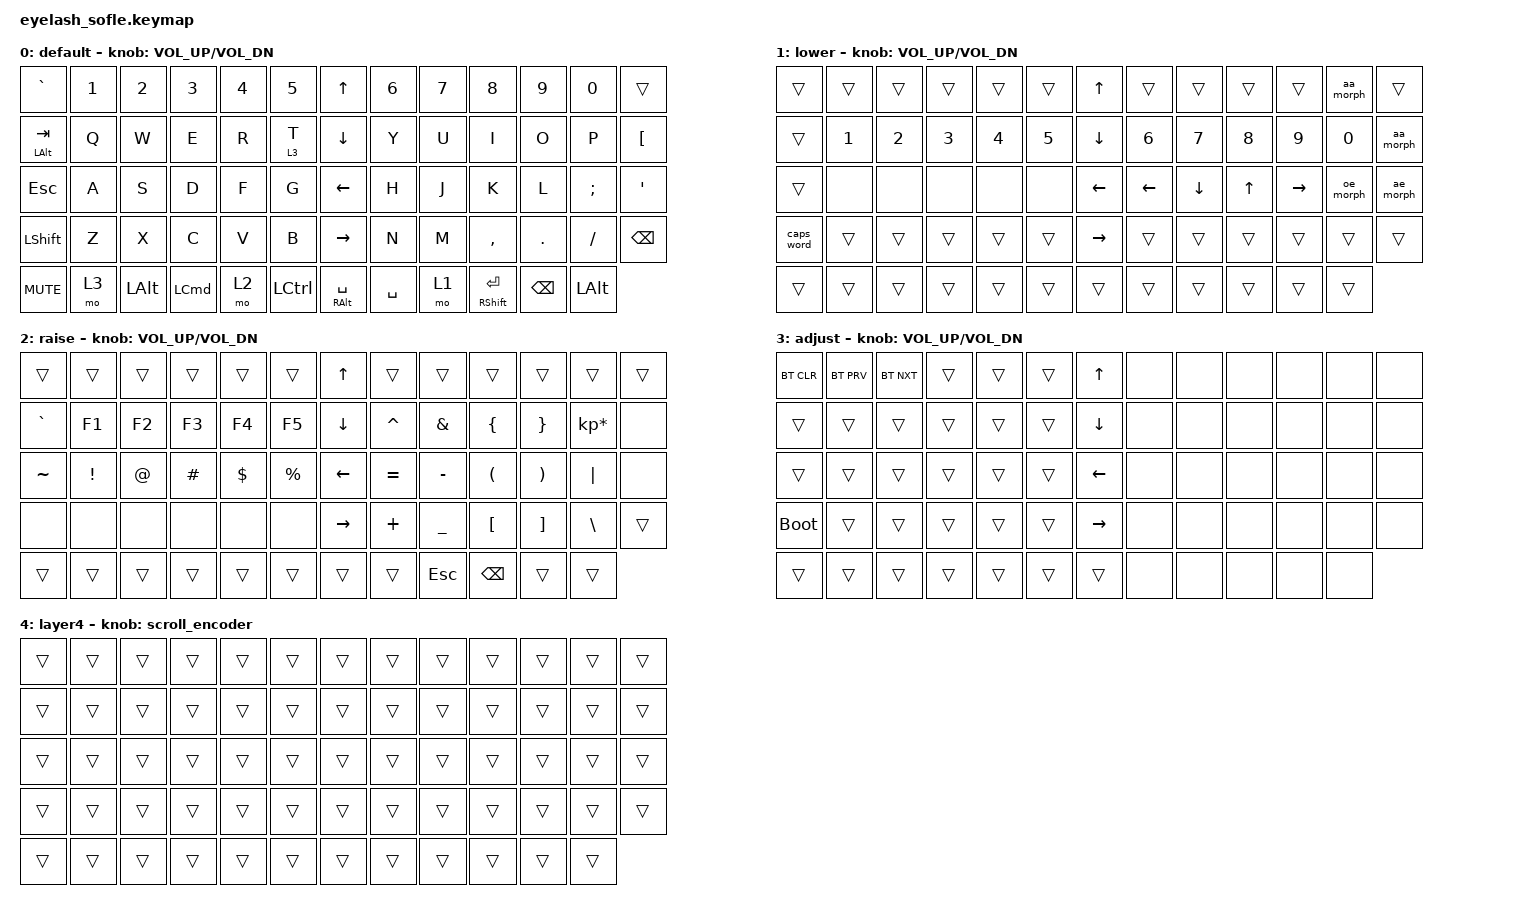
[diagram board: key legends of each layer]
#define ZMK_POINTING_DEFAULT_MOVE_VAL 1200  // 600
#define ZMK_POINTING_DEFAULT_SCRL_VAL 25   // 10

#include <input/processors.dtsi>
#include <zephyr/dt-bindings/input/input-event-codes.h>
#include <behaviors.dtsi>
#include <dt-bindings/zmk/bt.h>
#include <dt-bindings/zmk/keys.h>
#include <dt-bindings/zmk/pointing.h>

&mmv_input_listener { input-processors = <&zip_xy_scaler 2 1>; };

&msc_input_listener { input-processors = <&zip_scroll_scaler 2 1>; };

&msc {
    acceleration-exponent = <1>;      // 0
    time-to-max-speed-ms = <100>;       // 300
    delay-ms = <0>;                   // 0
};

&mmv {
    time-to-max-speed-ms = <500>;
    acceleration-exponent = <1>;
    trigger-period-ms = <16>;
};

&soft_off { hold-time-ms = <2000>; };

/ {
    scroll_encoder: scroll_encoder {
        compatible = "zmk,behavior-sensor-rotate";
        #sensor-binding-cells = <0>;
        bindings = <&msc SCRL_DOWN>, <&msc SCRL_UP>;

        tap-ms = <100>;
    };

    behaviors {
        // Direct character macro for å (lowercase) - macOS U.S. International - PC keyboard

        aa_lower: aa_lower {
            compatible = "zmk,behavior-macro";
            #binding-cells = <0>;
            wait-ms = <10>;
            tap-ms = <10>;
            bindings =
                <&macro_press>,
                <&kp LALT>,
                <&macro_tap>,
                <&kp A>,
                <&macro_release>,
                <&kp LALT>;
        };

        // Direct character macro for Å (uppercase) - macOS U.S. International - PC keyboard

        aa_upper: aa_upper {
            compatible = "zmk,behavior-macro";
            #binding-cells = <0>;
            wait-ms = <10>;
            tap-ms = <10>;
            bindings =
                <&macro_press>,
                <&kp LALT &kp LSHFT>,
                <&macro_tap>,
                <&kp A>,
                <&macro_release>,
                <&kp LSHFT &kp LALT>;
        };

        // Dead key macro for ä (lowercase) - macOS US Extended keyboard

        ae_lower: ae_lower {
            compatible = "zmk,behavior-macro";
            #binding-cells = <0>;
            wait-ms = <10>;
            tap-ms = <10>;
            bindings =
                <&macro_press>,
                <&kp LALT>,
                <&macro_tap>,
                <&kp U>,
                <&macro_release>,
                <&kp LALT>,
                <&macro_tap>,
                <&kp A>;
        };

        // Dead key macro for Ä (uppercase) - macOS US Extended keyboard

        ae_upper: ae_upper {
            compatible = "zmk,behavior-macro";
            #binding-cells = <0>;
            wait-ms = <10>;
            tap-ms = <10>;
            bindings =
                <&macro_press>,
                <&kp LALT>,
                <&macro_tap>,
                <&kp U>,
                <&macro_release>,
                <&kp LALT>,
                <&macro_press>,
                <&kp LSHFT>,
                <&macro_tap>,
                <&kp A>,
                <&macro_release>,
                <&kp LSHFT>;
        };

        // Dead key macro for ö (lowercase) - macOS US Extended keyboard

        oe_lower: oe_lower {
            compatible = "zmk,behavior-macro";
            #binding-cells = <0>;
            wait-ms = <10>;
            tap-ms = <10>;
            bindings =
                <&macro_press>,
                <&kp LALT>,
                <&macro_tap>,
                <&kp U>,
                <&macro_release>,
                <&kp LALT>,
                <&macro_tap>,
                <&kp O>;
        };

        // Dead key macro for Ö (uppercase) - macOS US Extended keyboard

        oe_upper: oe_upper {
            compatible = "zmk,behavior-macro";
            #binding-cells = <0>;
            wait-ms = <10>;
            tap-ms = <10>;
            bindings =
                <&macro_press>,
                <&kp LALT>,
                <&macro_tap>,
                <&kp U>,
                <&macro_release>,
                <&kp LALT>,
                <&macro_press>,
                <&kp LSHFT>,
                <&macro_tap>,
                <&kp O>,
                <&macro_release>,
                <&kp LSHFT>;
        };

        // Mod-morph for å/Å

        aa_morph: aa_morph {
            compatible = "zmk,behavior-mod-morph";
            #binding-cells = <0>;
            bindings = <&aa_lower>, <&aa_upper>;

            mods = <(MOD_LSFT|MOD_RSFT)>;
        };

        // Mod-morph for ä/Ä

        ae_morph: ae_morph {
            compatible = "zmk,behavior-mod-morph";
            #binding-cells = <0>;
            bindings = <&ae_lower>, <&ae_upper>;

            mods = <(MOD_LSFT|MOD_RSFT)>;
        };

        // Mod-morph for ö/Ö

        oe_morph: oe_morph {
            compatible = "zmk,behavior-mod-morph";
            #binding-cells = <0>;
            bindings = <&oe_lower>, <&oe_upper>;

            mods = <(MOD_LSFT|MOD_RSFT)>;
        };
    };

    combos {
        compatible = "zmk,combos";

        softoff {
            bindings = <&soft_off>;
            key-positions = <14 28 40>;
        };
    };



    macros {
    };

    keymap {
        compatible = "zmk,keymap";

        layer0 {
            bindings = <
&kp GRAVE         &kp N1  &kp N2    &kp N3            &kp N4  &kp N5       &kp UP_ARROW     &kp N6     &kp N7  &kp N8                  &kp N9         &kp N0        &trans
&mt LEFT_ALT TAB  &kp Q   &kp W     &kp E             &kp R   &lt 3 T      &kp DOWN_ARROW   &kp Y      &kp U   &kp I                   &kp O          &kp P         &kp LEFT_BRACKET
&kp ESC           &kp A   &kp S     &kp D             &kp F   &kp G        &kp LEFT_ARROW   &kp H      &kp J   &kp K                   &kp L          &kp SEMI      &kp SQT
&kp LSHFT         &kp Z   &kp X     &kp C             &kp V   &kp B        &kp RIGHT_ARROW  &kp N      &kp M   &kp COMMA               &kp PERIOD     &kp FSLH      &kp BACKSPACE
&kp C_MUTE        &mo 3   &kp LALT  &kp LEFT_COMMAND  &mo 2   &kp LCTRL    &mt RALT SPACE   &kp SPACE  &mo 1   &mt RIGHT_SHIFT RETURN  &kp BACKSPACE  &kp LEFT_ALT
            >;

            sensor-bindings = <&inc_dec_kp C_VOL_UP C_VOL_DN>;
            display-name = "default";
        };

        layer_1 {
            bindings = <
&trans      &trans  &trans  &trans  &trans  &trans    &kp UP_ARROW     &trans    &trans    &trans  &trans     &aa_morph  &trans
&trans      &kp N1  &kp N2  &kp N3  &kp N4  &kp N5    &kp DOWN_ARROW   &kp N6    &kp N7    &kp N8  &kp N9     &kp N0     &aa_morph
&trans      &none   &none   &none   &none   &none     &kp LEFT_ARROW   &kp LEFT  &kp DOWN  &kp UP  &kp RIGHT  &oe_morph  &ae_morph
&caps_word  &trans  &trans  &trans  &trans  &trans    &kp RIGHT_ARROW  &trans    &trans    &trans  &trans     &trans     &trans
&trans      &trans  &trans  &trans  &trans  &trans    &trans           &trans    &trans    &trans  &trans     &trans
            >;

            display-name = "lower";
            sensor-bindings = <&inc_dec_kp C_VOL_UP C_VOL_DN>;
        };

        layer_2 {
            bindings = <
&trans     &trans    &trans  &trans    &trans      &trans         &kp UP_ARROW     &trans     &trans          &trans    &trans    &trans           &trans
&kp GRAVE  &kp F1    &kp F2  &kp F3    &kp F4      &kp F5         &kp DOWN_ARROW   &kp CARET  &kp AMPS        &kp LBRC  &kp RBRC  &kp KP_MULTIPLY  &none
&kp TILDE  &kp EXCL  &kp AT  &kp HASH  &kp DOLLAR  &kp PERCENT    &kp LEFT_ARROW   &kp EQUAL  &kp MINUS       &kp LPAR  &kp RPAR  &kp PIPE         &none
&none      &none     &none   &none     &none       &none          &kp RIGHT_ARROW  &kp PLUS   &kp UNDERSCORE  &kp LBKT  &kp RBKT  &kp BACKSLASH    &trans
&trans     &trans    &trans  &trans    &trans      &trans         &trans           &trans     &kp ESCAPE      &kp BSPC  &trans    &trans
            >;

            display-name = "raise";
            sensor-bindings = <&inc_dec_kp C_VOL_UP C_VOL_DN>;
        };

        layer_3 {
            bindings = <
&bt BT_CLR   &bt BT_PRV  &bt BT_NXT  &trans  &trans  &trans    &kp UP_ARROW     &none  &none  &none  &none  &none  &none
&trans       &trans      &trans      &trans  &trans  &trans    &kp DOWN_ARROW   &none  &none  &none  &none  &none  &none
&trans       &trans      &trans      &trans  &trans  &trans    &kp LEFT_ARROW   &none  &none  &none  &none  &none  &none
&bootloader  &trans      &trans      &trans  &trans  &trans    &kp RIGHT_ARROW  &none  &none  &none  &none  &none  &none
&trans       &trans      &trans      &trans  &trans  &trans    &trans           &none  &none  &none  &none  &none
            >;

            display-name = "adjust";
            sensor-bindings = <&inc_dec_kp C_VOL_UP C_VOL_DN>;
        };

        layer_4 {
            bindings = <
&trans  &trans  &trans  &trans  &trans  &trans    &trans  &trans  &trans  &trans  &trans  &trans  &trans
&trans  &trans  &trans  &trans  &trans  &trans    &trans  &trans  &trans  &trans  &trans  &trans  &trans
&trans  &trans  &trans  &trans  &trans  &trans    &trans  &trans  &trans  &trans  &trans  &trans  &trans
&trans  &trans  &trans  &trans  &trans  &trans    &trans  &trans  &trans  &trans  &trans  &trans  &trans
&trans  &trans  &trans  &trans  &trans  &trans    &trans  &trans  &trans  &trans  &trans  &trans
            >;

            display-name = "layer4";
            sensor-bindings = <&scroll_encoder>;
        };
    };
};
